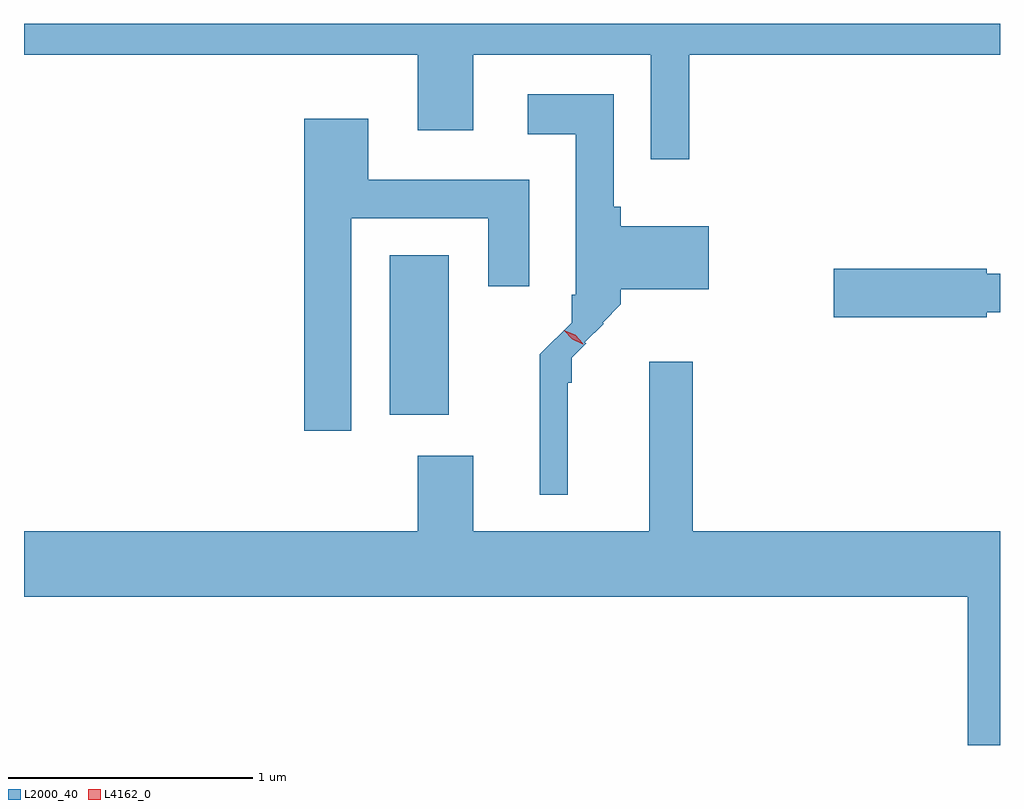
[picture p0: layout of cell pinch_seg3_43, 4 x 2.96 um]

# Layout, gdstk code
import gdstk
lib = gdstk.Library(unit=1e-6, precision=1e-09)
def R(c, l, rs):  # rectangles x0, y0, x1, y1
    for r in rs: c.add(gdstk.rectangle(r[:2], r[2:], *l))
def P(c, l, *ps):  # polygons
    for p in ps: c.add(gdstk.Polygon(p, *l))
L2000_40 = (2000, 40)
L4162_0 = (4162, 0)

pinch_seg3_43 = lib.new_cell('pinch_seg3_43')
R(pinch_seg3_43, L2000_40, [(1131.786,1177.821,1132.029,1178.474)])
P(pinch_seg3_43, L2000_40, [(1133.014,1179.296),(1134.288,1179.296),(1134.288,1179.424),(1130.288,1179.424),(1130.288,1179.296),(1131.901,1179.296),(1131.901,1178.986),(1132.129,1178.986),(1132.129,1179.296),(1132.856,1179.296),(1132.856,1178.868),(1133.014,1178.868)],
  [(1132.516,1177.952),(1132.532,1177.952),(1132.532,1178.055),(1132.592,1178.114),(1132.587,1178.119),(1132.664,1178.195),(1132.66,1178.199),(1132.734,1178.273),(1132.734,1178.336),(1133.094,1178.336),(1133.094,1178.594),(1132.734,1178.594),(1132.734,1178.674),(1132.704,1178.674),(1132.704,1179.134),(1132.353,1179.134),(1132.353,1178.971),(1132.55,1178.971),(1132.55,1178.312),(1132.532,1178.312),(1132.532,1178.198),(1132.401,1178.068),(1132.401,1177.493),(1132.516,1177.493)],
  [(1131.629,1178.626),(1132.191,1178.626),(1132.191,1178.348),(1132.359,1178.348),(1132.359,1178.784),(1131.699,1178.784),(1131.699,1179.034),(1131.436,1179.034),(1131.436,1177.756),(1131.629,1177.756)],
  [(1134.234,1178.241),(1134.288,1178.241),(1134.288,1178.399),(1134.234,1178.399),(1134.234,1178.419),(1133.606,1178.419),(1133.606,1178.221),(1134.234,1178.221)],
  [(1134.288,1177.344),(1133.029,1177.344),(1133.029,1178.039),(1132.851,1178.039),(1132.851,1177.344),(1132.129,1177.344),(1132.129,1177.654),(1131.901,1177.654),(1131.901,1177.344),(1130.288,1177.344),(1130.288,1177.076),(1134.156,1177.076),(1134.156,1176.466),(1134.288,1176.466)])
P(pinch_seg3_43, L4162_0, [(1132.578,1178.109),(1132.534,1178.13),(1132.5,1178.168),(1132.5,1178.168),(1132.501,1178.168),(1132.546,1178.146),(1132.579,1178.11),(1132.579,1178.109)],
  [(1132.576,1178.114),(1132.535,1178.132),(1132.505,1178.166),(1132.505,1178.166),(1132.506,1178.166),(1132.547,1178.148),(1132.577,1178.114),(1132.577,1178.114)])

lib.write_gds('pinch_seg3_43.gds')
